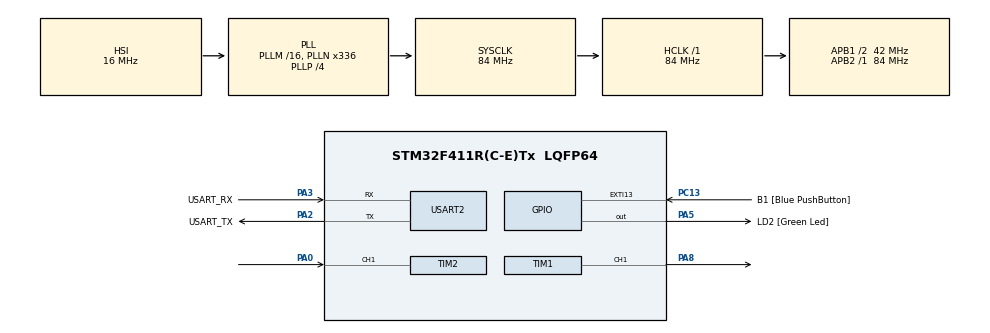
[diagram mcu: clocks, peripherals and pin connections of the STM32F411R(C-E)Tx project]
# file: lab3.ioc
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Dma.Request0=TIM2_CH1
Dma.TIM2_CH1.0.Direction=DMA_PERIPH_TO_MEMORY
Dma.TIM2_CH1.0.FIFOMode=DMA_FIFOMODE_DISABLE
Dma.TIM2_CH1.0.Instance=DMA1_Stream5
Dma.TIM2_CH1.0.MemDataAlignment=DMA_MDATAALIGN_WORD
Dma.TIM2_CH1.0.MemInc=DMA_MINC_ENABLE
Dma.TIM2_CH1.0.Mode=DMA_CIRCULAR
Dma.TIM2_CH1.0.PeriphDataAlignment=DMA_PDATAALIGN_WORD
Dma.TIM2_CH1.0.PeriphInc=DMA_PINC_DISABLE
Dma.TIM2_CH1.0.Priority=DMA_PRIORITY_LOW
Mcu.Family=STM32F4
Mcu.Name=STM32F411R(C-E)Tx
Mcu.Package=LQFP64
NVIC.DMA1_Stream5_IRQn=true\:0\:0\:false\:false\:true\:false\:true\:true
NVIC.PriorityGroup=NVIC_PRIORITYGROUP_0
PA0-WKUP.Signal=S_TIM2_CH1_ETR
PA13.GPIO_Label=TMS
PA13.Mode=Serial_Wire
PA13.Signal=SYS_JTMS-SWDIO
PA14.GPIO_Label=TCK
PA14.Mode=Serial_Wire
PA14.Signal=SYS_JTCK-SWCLK
PA2.GPIO_Label=USART_TX
PA2.Mode=Asynchronous
PA2.Signal=USART2_TX
PA3.GPIO_Label=USART_RX
PA3.Mode=Asynchronous
PA3.Signal=USART2_RX
PA5.GPIO_Label=LD2 [Green Led]
PA5.Signal=GPIO_Output
PA8.Signal=S_TIM1_CH1
PB3.GPIO_Label=SWO
PB3.Signal=SYS_JTDO-SWO
PC13-ANTI_TAMP.GPIO_Label=B1 [Blue PushButton]
PC13-ANTI_TAMP.GPIO_ModeDefaultEXTI=GPIO_MODE_IT_FALLING
PC13-ANTI_TAMP.Signal=GPXTI13
PC14-OSC32_IN.Mode=LSE-External-Oscillator
PC14-OSC32_IN.Signal=RCC_OSC32_IN
PC15-OSC32_OUT.Mode=LSE-External-Oscillator
PC15-OSC32_OUT.Signal=RCC_OSC32_OUT
PH0\ -\ OSC_IN.Mode=HSE-External-Clock-Source
PH0\ -\ OSC_IN.Signal=RCC_OSC_IN
PH1\ -\ OSC_OUT.Mode=HSE-External-Clock-Source
PH1\ -\ OSC_OUT.Signal=RCC_OSC_OUT
ProjectManager.HeapSize=0x200
ProjectManager.StackSize=0x400
ProjectManager.TargetToolchain=STM32CubeIDE
RCC.48MHZClocksFreq_Value=84000000
RCC.AHBFreq_Value=84000000
RCC.APB1CLKDivider=RCC_HCLK_DIV2
RCC.APB1Freq_Value=42000000
RCC.APB1TimFreq_Value=84000000
RCC.APB2Freq_Value=84000000
RCC.APB2TimFreq_Value=84000000
RCC.CortexFreq_Value=84000000
RCC.FLatency-AdvancedSettings=FLASH_LATENCY_2
RCC.HCLKFreq_Value=84000000
RCC.HSE_VALUE=8000000
RCC.HSI_VALUE=16000000
RCC.PLLN=336
RCC.PLLP=RCC_PLLP_DIV4
RCC.SYSCLKFreq_VALUE=84000000
RCC.SYSCLKSource=RCC_SYSCLKSOURCE_PLLCLK
RCC.VCOOutputFreq_Value=336000000
SH.S_TIM1_CH1.0=TIM1_CH1,PWM Generation1 CH1
SH.S_TIM2_CH1_ETR.0=TIM2_CH1,Input_Capture1_from_TI1
TIM1.Channel-PWM\ Generation1\ CH1=TIM_CHANNEL_1
TIM1.Period=9999
TIM1.Prescaler=83
TIM1.Pulse-PWM\ Generation1\ CH1=10000
TIM2.Channel-Input_Capture1_from_TI1=TIM_CHANNEL_1
TIM2.Prescaler=83
USART2.VirtualMode=VM_ASYNC
VP_TIM1_VS_ClockSourceINT.Mode=Internal
VP_TIM2_VS_ClockSourceINT.Mode=Internal
board=NUCLEO-F411RE

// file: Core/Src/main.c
/* USER CODE BEGIN Header */
/**
  ******************************************************************************
  * @file           : main.c
  * @brief          : Main program body
  ******************************************************************************
  * @attention
  *
  * Copyright (c) 2023 STMicroelectronics.
  * All rights reserved.
  *
  * This software is licensed under terms that can be found in the LICENSE file
  * in the root directory of this software component.
  * If no LICENSE file comes with this software, it is provided AS-IS.
  *
  ******************************************************************************
  */
/* USER CODE END Header */
#include "main.h"

TIM_HandleTypeDef htim1;
TIM_HandleTypeDef htim2;
DMA_HandleTypeDef hdma_tim2_ch1;

UART_HandleTypeDef huart2;

/* USER CODE BEGIN PV */
uint32_t buf[20];
float vel;

int32_t MotorSetDuty = 0;

uint16_t rpm_c,rpm_l;

uint8_t MotorControlEnable = 0;
uint8_t MotorSetRPM = 0;
float MotorReadRPM = 0;

uint32_t veldiff = 0;
/* USER CODE END PV */

void SystemClock_Config(void);
static void MX_GPIO_Init(void);
static void MX_DMA_Init(void);
static void MX_USART2_UART_Init(void);
static void MX_TIM1_Init(void);
static void MX_TIM2_Init(void);
/* USER CODE BEGIN PFP */
float IC_Calc_Period();
/* USER CODE END PFP */

int main(void)
{

  /* MCU Configuration--------------------------------------------------------*/

  /* Reset of all peripherals, Initializes the Flash interface and the Systick. */
  HAL_Init();

  /* Configure the system clock */
  SystemClock_Config();

  /* Initialize all configured peripherals */
  MX_GPIO_Init();
  MX_DMA_Init();
  MX_USART2_UART_Init();
  MX_TIM1_Init();
  MX_TIM2_Init();
  /* USER CODE BEGIN 2 */
  HAL_TIM_Base_Start(&htim2);
  HAL_TIM_IC_Start_DMA(&htim2, TIM_CHANNEL_1, buf, 20);

  HAL_TIM_Base_Start(&htim1);
  HAL_TIM_PWM_Start(&htim1, TIM_CHANNEL_1);
  /* USER CODE END 2 */

  /* Infinite loop */
  while (1)
  {

    /* USER CODE BEGIN 3 */
	  static uint32_t timestamp = 0;
	  //angle = (qeiraw * 360)/3072;
	  switch(MotorControlEnable){
	  case 0:
		  if(HAL_GetTick() > timestamp){
			  timestamp = HAL_GetTick() + 20;
			  if(MotorSetDuty == 0){
				  MotorReadRPM = 0;
			  }
			  else{
				  MotorReadRPM = IC_Calc_Period();
			  }
			  __HAL_TIM_SET_COMPARE(&htim1,TIM_CHANNEL_1,MotorSetDuty*100);
		  }
		  break;
	  case 1:
		  rpm_c = MotorSetRPM;
		  if(rpm_c != rpm_l){
			  MotorSetDuty = (MotorSetRPM * 10000) / 40;
			  MotorSetDuty *= 0.3;
			  if(MotorSetRPM <=3){
				  MotorSetDuty = 0;
			  }
		  }

		  if(HAL_GetTick() > timestamp){
			  timestamp = HAL_GetTick() + 20;

			  if(MotorSetRPM == 0){
				  MotorReadRPM = 0;
			  }
			  else{
				  MotorReadRPM = IC_Calc_Period();
				  veldiff = abs(MotorReadRPM - MotorSetRPM);
				  if(veldiff > 3){
					  if(MotorReadRPM > MotorSetRPM){
						  MotorSetDuty -= 20;
					  }
					  else if(MotorReadRPM < MotorSetRPM){
						  MotorSetDuty += 20;
					  }
				  }
				  else{
					  if(MotorReadRPM > MotorSetRPM){
						  MotorSetDuty-=5;
					  }
					  else if(MotorReadRPM < MotorSetRPM){
						  MotorSetDuty+=5;
					  }
				  }
			  }
			  if(MotorSetDuty <= 0){
				  MotorSetDuty+=50;
			  }
			  __HAL_TIM_SET_COMPARE(&htim1,TIM_CHANNEL_1,MotorSetDuty);
		  }

		  rpm_l = rpm_c;
		  break;
	  }
  }
  /* USER CODE END 3 */
}

void SystemClock_Config(void)
{
  RCC_OscInitTypeDef RCC_OscInitStruct = {0};
  RCC_ClkInitTypeDef RCC_ClkInitStruct = {0};

  /** Configure the main internal regulator output voltage
  */
  __HAL_RCC_PWR_CLK_ENABLE();
  __HAL_PWR_VOLTAGESCALING_CONFIG(PWR_REGULATOR_VOLTAGE_SCALE1);

  /** Initializes the RCC Oscillators according to the specified parameters
  * in the RCC_OscInitTypeDef structure.
  */
  RCC_OscInitStruct.OscillatorType = RCC_OSCILLATORTYPE_HSI;
  RCC_OscInitStruct.HSIState = RCC_HSI_ON;
  RCC_OscInitStruct.HSICalibrationValue = RCC_HSICALIBRATION_DEFAULT;
  RCC_OscInitStruct.PLL.PLLState = RCC_PLL_ON;
  RCC_OscInitStruct.PLL.PLLSource = RCC_PLLSOURCE_HSI;
  RCC_OscInitStruct.PLL.PLLM = 16;
  RCC_OscInitStruct.PLL.PLLN = 336;
  RCC_OscInitStruct.PLL.PLLP = RCC_PLLP_DIV4;
  RCC_OscInitStruct.PLL.PLLQ = 4;
  if (HAL_RCC_OscConfig(&RCC_OscInitStruct) != HAL_OK)
  {
    Error_Handler();
  }

  /** Initializes the CPU, AHB and APB buses clocks
  */
  RCC_ClkInitStruct.ClockType = RCC_CLOCKTYPE_HCLK|RCC_CLOCKTYPE_SYSCLK
                              |RCC_CLOCKTYPE_PCLK1|RCC_CLOCKTYPE_PCLK2;
  RCC_ClkInitStruct.SYSCLKSource = RCC_SYSCLKSOURCE_PLLCLK;
  RCC_ClkInitStruct.AHBCLKDivider = RCC_SYSCLK_DIV1;
  RCC_ClkInitStruct.APB1CLKDivider = RCC_HCLK_DIV2;
  RCC_ClkInitStruct.APB2CLKDivider = RCC_HCLK_DIV1;

  if (HAL_RCC_ClockConfig(&RCC_ClkInitStruct, FLASH_LATENCY_2) != HAL_OK)
  {
    Error_Handler();
  }
}

static void MX_TIM1_Init(void)
{

  TIM_ClockConfigTypeDef sClockSourceConfig = {0};
  TIM_MasterConfigTypeDef sMasterConfig = {0};
  TIM_OC_InitTypeDef sConfigOC = {0};
  TIM_BreakDeadTimeConfigTypeDef sBreakDeadTimeConfig = {0};

  htim1.Instance = TIM1;
  htim1.Init.Prescaler = 83;
  htim1.Init.CounterMode = TIM_COUNTERMODE_UP;
  htim1.Init.Period = 9999;
  htim1.Init.ClockDivision = TIM_CLOCKDIVISION_DIV1;
  htim1.Init.RepetitionCounter = 0;
  htim1.Init.AutoReloadPreload = TIM_AUTORELOAD_PRELOAD_DISABLE;
  if (HAL_TIM_Base_Init(&htim1) != HAL_OK)
  {
    Error_Handler();
  }
  sClockSourceConfig.ClockSource = TIM_CLOCKSOURCE_INTERNAL;
  if (HAL_TIM_ConfigClockSource(&htim1, &sClockSourceConfig) != HAL_OK)
  {
    Error_Handler();
  }
  if (HAL_TIM_PWM_Init(&htim1) != HAL_OK)
  {
    Error_Handler();
  }
  sMasterConfig.MasterOutputTrigger = TIM_TRGO_RESET;
  sMasterConfig.MasterSlaveMode = TIM_MASTERSLAVEMODE_DISABLE;
  if (HAL_TIMEx_MasterConfigSynchronization(&htim1, &sMasterConfig) != HAL_OK)
  {
    Error_Handler();
  }
  sConfigOC.OCMode = TIM_OCMODE_PWM1;
  sConfigOC.Pulse = 10000;
  sConfigOC.OCPolarity = TIM_OCPOLARITY_HIGH;
  sConfigOC.OCNPolarity = TIM_OCNPOLARITY_HIGH;
  sConfigOC.OCFastMode = TIM_OCFAST_DISABLE;
  sConfigOC.OCIdleState = TIM_OCIDLESTATE_RESET;
  sConfigOC.OCNIdleState = TIM_OCNIDLESTATE_RESET;
  if (HAL_TIM_PWM_ConfigChannel(&htim1, &sConfigOC, TIM_CHANNEL_1) != HAL_OK)
  {
    Error_Handler();
  }
  sBreakDeadTimeConfig.OffStateRunMode = TIM_OSSR_DISABLE;
  sBreakDeadTimeConfig.OffStateIDLEMode = TIM_OSSI_DISABLE;
  sBreakDeadTimeConfig.LockLevel = TIM_LOCKLEVEL_OFF;
  sBreakDeadTimeConfig.DeadTime = 0;
  sBreakDeadTimeConfig.BreakState = TIM_BREAK_DISABLE;
  sBreakDeadTimeConfig.BreakPolarity = TIM_BREAKPOLARITY_HIGH;
  sBreakDeadTimeConfig.AutomaticOutput = TIM_AUTOMATICOUTPUT_DISABLE;
  if (HAL_TIMEx_ConfigBreakDeadTime(&htim1, &sBreakDeadTimeConfig) != HAL_OK)
  {
    Error_Handler();
  }
  HAL_TIM_MspPostInit(&htim1);

}

static void MX_TIM2_Init(void)
{

  TIM_ClockConfigTypeDef sClockSourceConfig = {0};
  TIM_MasterConfigTypeDef sMasterConfig = {0};
  TIM_IC_InitTypeDef sConfigIC = {0};

  htim2.Instance = TIM2;
  htim2.Init.Prescaler = 83;
  htim2.Init.CounterMode = TIM_COUNTERMODE_UP;
  htim2.Init.Period = 4294967295;
  htim2.Init.ClockDivision = TIM_CLOCKDIVISION_DIV1;
  htim2.Init.AutoReloadPreload = TIM_AUTORELOAD_PRELOAD_DISABLE;
  if (HAL_TIM_Base_Init(&htim2) != HAL_OK)
  {
    Error_Handler();
  }
  sClockSourceConfig.ClockSource = TIM_CLOCKSOURCE_INTERNAL;
  if (HAL_TIM_ConfigClockSource(&htim2, &sClockSourceConfig) != HAL_OK)
  {
    Error_Handler();
  }
  if (HAL_TIM_IC_Init(&htim2) != HAL_OK)
  {
    Error_Handler();
  }
  sMasterConfig.MasterOutputTrigger = TIM_TRGO_RESET;
  sMasterConfig.MasterSlaveMode = TIM_MASTERSLAVEMODE_DISABLE;
  if (HAL_TIMEx_MasterConfigSynchronization(&htim2, &sMasterConfig) != HAL_OK)
  {
    Error_Handler();
  }
  sConfigIC.ICPolarity = TIM_INPUTCHANNELPOLARITY_RISING;
  sConfigIC.ICSelection = TIM_ICSELECTION_DIRECTTI;
  sConfigIC.ICPrescaler = TIM_ICPSC_DIV1;
  sConfigIC.ICFilter = 0;
  if (HAL_TIM_IC_ConfigChannel(&htim2, &sConfigIC, TIM_CHANNEL_1) != HAL_OK)
  {
    Error_Handler();
  }

}

static void MX_USART2_UART_Init(void)
{

  huart2.Instance = USART2;
  huart2.Init.BaudRate = 115200;
  huart2.Init.WordLength = UART_WORDLENGTH_8B;
  huart2.Init.StopBits = UART_STOPBITS_1;
  huart2.Init.Parity = UART_PARITY_NONE;
  huart2.Init.Mode = UART_MODE_TX_RX;
  huart2.Init.HwFlowCtl = UART_HWCONTROL_NONE;
  huart2.Init.OverSampling = UART_OVERSAMPLING_16;
  if (HAL_UART_Init(&huart2) != HAL_OK)
  {
    Error_Handler();
  }

}

static void MX_DMA_Init(void)
{

  /* DMA controller clock enable */
  __HAL_RCC_DMA1_CLK_ENABLE();

  /* DMA interrupt init */
  /* DMA1_Stream5_IRQn interrupt configuration */
  HAL_NVIC_SetPriority(DMA1_Stream5_IRQn, 0, 0);
  HAL_NVIC_EnableIRQ(DMA1_Stream5_IRQn);

}

static void MX_GPIO_Init(void)
{
  GPIO_InitTypeDef GPIO_InitStruct = {0};

  /* GPIO Ports Clock Enable */
  __HAL_RCC_GPIOC_CLK_ENABLE();
  __HAL_RCC_GPIOH_CLK_ENABLE();
  __HAL_RCC_GPIOA_CLK_ENABLE();
  __HAL_RCC_GPIOB_CLK_ENABLE();

  /*Configure GPIO pin Output Level */
  HAL_GPIO_WritePin(LD2_GPIO_Port, LD2_Pin, GPIO_PIN_RESET);

  /*Configure GPIO pin : B1_Pin */
  GPIO_InitStruct.Pin = B1_Pin;
  GPIO_InitStruct.Mode = GPIO_MODE_IT_FALLING;
  GPIO_InitStruct.Pull = GPIO_NOPULL;
  HAL_GPIO_Init(B1_GPIO_Port, &GPIO_InitStruct);

  /*Configure GPIO pin : LD2_Pin */
  GPIO_InitStruct.Pin = LD2_Pin;
  GPIO_InitStruct.Mode = GPIO_MODE_OUTPUT_PP;
  GPIO_InitStruct.Pull = GPIO_NOPULL;
  GPIO_InitStruct.Speed = GPIO_SPEED_FREQ_LOW;
  HAL_GPIO_Init(LD2_GPIO_Port, &GPIO_InitStruct);

}

/* USER CODE BEGIN 4 */

//float IC_Calc_Period(){
//	uint32_t cur = 20 - __HAL_DMA_GET_COUNTER(htim2.hdma[1]);
//	int32_t sumdiff = 0;
//	for(int i=1;i<6;i++){
//		sumdiff += buf[(cur-i+20)%20] - buf[(cur-i-1+20)%20];
//	}
//	return (5.0*1000000.0)/(64.0*(sumdiff/5.0));
//
//}

float IC_Calc_Period()
{
	uint32_t currentDMAPointer = 20 - __HAL_DMA_GET_COUNTER((htim2.hdma[1]));
	uint32_t lastValidDMAPointer = (currentDMAPointer-1+20) % 20;
	uint32_t i = (lastValidDMAPointer + 20 - 5) % 20;
	int32_t sumdiff =0;

	while (i != lastValidDMAPointer)
	{

		uint32_t firstCapture = buf[i];
		uint32_t NextCapture = buf[(i+1)%20];
		sumdiff += NextCapture - firstCapture;
		i = (i+1)%20;
	}
	return (5.0*1000000.0)/(64.0*(sumdiff / 5.0));
}

/* USER CODE END 4 */

void Error_Handler(void)
{
  __disable_irq();
  while (1)
  {
  }
}
